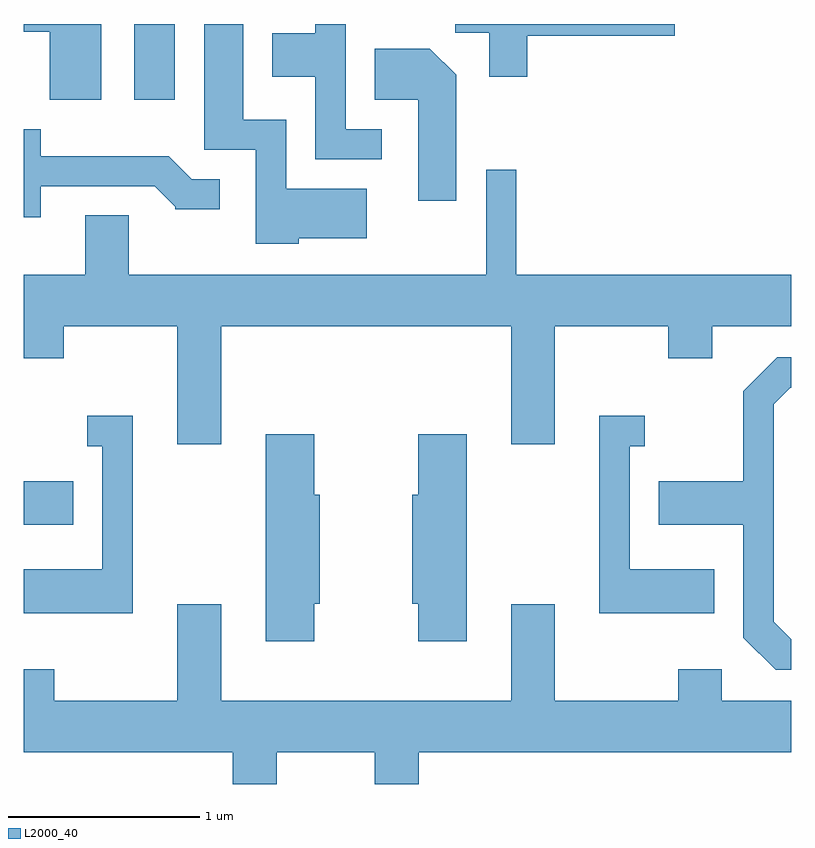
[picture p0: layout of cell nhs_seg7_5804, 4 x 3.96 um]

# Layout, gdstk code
import gdstk
lib = gdstk.Library(unit=1e-6, precision=1e-09)
def R(c, l, rs):  # rectangles x0, y0, x1, y1
    for r in rs: c.add(gdstk.rectangle(r[:2], r[2:], *l))
def P(c, l, *ps):  # polygons
    for p in ps: c.add(gdstk.Polygon(p, *l))
L2000_40 = (2000, 40)

nhs_seg7_5804 = lib.new_cell('nhs_seg7_5804')
R(nhs_seg7_5804, L2000_40, [(361.611,1797.641,361.869,1797.869), (362.186,1799.856,362.399,1800.252)])
P(nhs_seg7_5804, L2000_40, [(363.044,1799.136),(363.399,1799.136),(363.399,1799.394),(362.979,1799.394),(362.979,1799.754),(362.754,1799.754),(362.754,1800.252),(362.551,1800.252),(362.551,1799.596),(362.821,1799.596),(362.821,1799.106),(363.044,1799.106)],
  [(363.478,1799.704),(363.289,1799.704),(363.289,1800.252),(363.131,1800.252),(363.131,1800.204),(362.906,1800.204),(362.906,1799.976),(363.131,1799.976),(363.131,1799.546),(363.478,1799.546)],
  [(362.014,1800.252),(361.611,1800.252),(361.611,1800.211),(361.746,1800.211),(361.746,1799.856),(362.014,1799.856)],
  [(364.234,1800.191),(365.004,1800.191),(365.004,1800.252),(363.861,1800.252),(363.861,1800.206),(364.036,1800.206),(364.036,1799.976),(364.234,1799.976)],
  [(363.864,1799.987),(363.727,1800.124),(363.441,1800.124),(363.441,1799.856),(363.666,1799.856),(363.666,1799.331),(363.864,1799.331)],
  [(361.699,1799.406),(362.294,1799.406),(362.4,1799.3),(362.4,1799.286),(362.633,1799.286),(362.633,1799.444),(362.487,1799.444),(362.367,1799.564),(361.699,1799.564),(361.699,1799.704),(361.611,1799.704),(361.611,1799.246),(361.699,1799.246)],
  [(362.639,1798.676),(364.151,1798.676),(364.151,1798.061),(364.379,1798.061),(364.379,1798.676),(364.971,1798.676),(364.971,1798.511),(365.199,1798.511),(365.199,1798.676),(365.611,1798.676),(365.611,1798.944),(364.179,1798.944),(364.179,1799.493),(364.021,1799.493),(364.021,1798.944),(362.159,1798.944),(362.159,1799.254),(361.931,1799.254),(361.931,1798.944),(361.611,1798.944),(361.611,1798.511),(361.819,1798.511),(361.819,1798.676),(362.411,1798.676),(362.411,1798.061),(362.639,1798.061)],
  [(365.611,1797.045),(365.519,1797.137),(365.519,1798.269),(365.607,1798.356),(365.611,1798.356),(365.611,1798.514),(365.539,1798.514),(365.361,1798.337),(365.361,1797.869),(364.921,1797.869),(364.921,1797.641),(365.361,1797.641),(365.361,1797.054),(365.529,1796.886),(365.611,1796.886)],
  [(365.209,1797.409),(364.769,1797.409),(364.769,1798.051),(364.848,1798.051),(364.848,1798.209),(364.611,1798.209),(364.611,1797.181),(365.209,1797.181)],
  [(362.179,1798.209),(361.943,1798.209),(361.943,1798.051),(362.021,1798.051),(362.021,1797.409),(361.611,1797.409),(361.611,1797.181),(362.179,1797.181)],
  [(363.124,1797.231),(363.154,1797.231),(363.154,1797.799),(363.124,1797.799),(363.124,1798.114),(362.871,1798.114),(362.871,1797.036),(363.124,1797.036)],
  [(363.919,1798.114),(363.666,1798.114),(363.666,1797.799),(363.636,1797.799),(363.636,1797.231),(363.666,1797.231),(363.666,1797.036),(363.919,1797.036)],
  [(362.929,1796.456),(363.441,1796.456),(363.441,1796.291),(363.669,1796.291),(363.669,1796.456),(365.611,1796.456),(365.611,1796.724),(365.249,1796.724),(365.249,1796.889),(365.021,1796.889),(365.021,1796.724),(364.379,1796.724),(364.379,1797.229),(364.151,1797.229),(364.151,1796.724),(362.639,1796.724),(362.639,1797.229),(362.411,1797.229),(362.411,1796.724),(361.769,1796.724),(361.769,1796.889),(361.611,1796.889),(361.611,1796.456),(362.701,1796.456),(362.701,1796.291),(362.929,1796.291)])

lib.write_gds('nhs_seg7_5804.gds')
